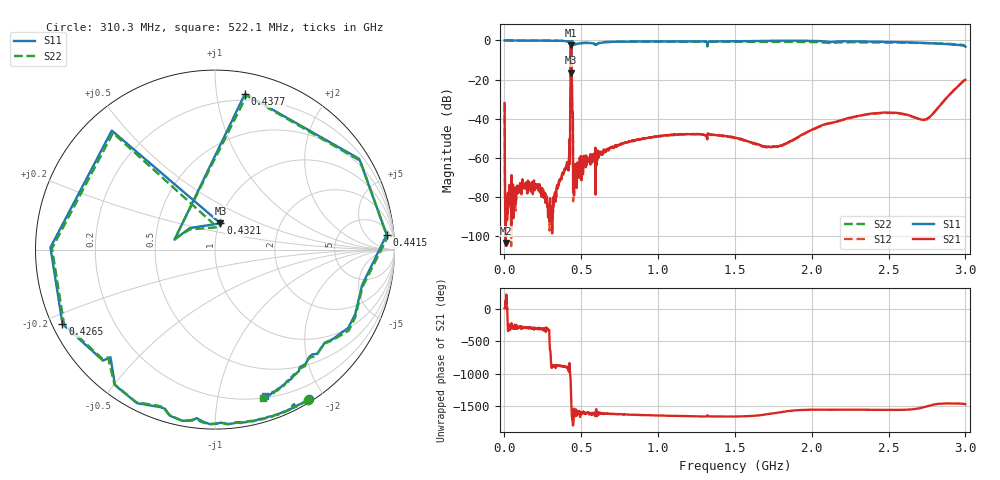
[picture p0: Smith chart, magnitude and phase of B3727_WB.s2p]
! Matrix data file written by TouchstoneData, EPCOS AG
! FILENAME: "B3727_WB.s2p"
! COMMENT: "PCB:2023 PIN:1/4 PEXT1:93.0ps PEXT2:179.5ps"
! INFO: nport=2, nfreq=1601
! DATE: "Thu Apr 16 15:55:38 2009"
! USER: "Sergey Rostovtsev"
! port | pin | signal
!  1  |  1  |  in
!  2  |  4  |  out
# MHZ S MA R 50
! freq  magS11 angS11  magS21 angS21  magS12 angS12  magS22 angS22
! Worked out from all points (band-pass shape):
!   1601 points, 1 MHz to 3 GHz, reference 50 ohm
!   highest |S21| = -2.48 dB at 434 MHz (marker M1); lowest = -103.6 dB at 8.498 MHz (marker M2)
!   |S21| within 3 dB of the highest: 431.9 MHz to 436.2 MHz (4.342 MHz wide, 1 % of centre)
!   lowest |S11| = -16.5 dB at 432.1 MHz (marker M3), VSWR 1.35, Z = 50.8 + j15.2 ohm
!   |S11| at or under -10 dB: 431.3 MHz to 436.3 MHz (4.975 MHz wide, 1.15 % of centre)
!   |S22| runs from -18.0 to 0.0 dB; largest |S21 - S12| = 0.0031
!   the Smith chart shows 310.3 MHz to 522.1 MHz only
!   S11 on the Smith chart (normalised r, x): 310.3 MHz: 0.03, -1.82; 426.5 MHz: 0.03, -0.23; 432.1 MHz: 1.02, +0.30; 437.7 MHz: 0.15, +1.20; 441.5 MHz: 9, +19; 522.1 MHz: 0.21, -1.37
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1  0.9999 -0.2  0.0249 7.1  0.02507 7.4  0.9996 -0.1
8.4975  0.9997 -1.6  6.569e-06 130.5  5.581e-06 -176.5  0.9989 -1.4
19.74375  0.999 -3.7  3.903e-05 -138.6  2.716e-05 -113.4  0.9986 -3.6
165.945  0.9933 -30.4  0.0001951 60.2  0.0002037 59.4  0.9943 -30.7
310.2719  0.9841 -57.7  1.15e-05 175.3  1.478e-05 145.6  0.9863 -58.3
381.4981  0.9773 -77.3  0.0003932 -167.1  0.0003815 -166.8  0.9787 -78.0
411.4881  0.9711 -100.8  0.0007647 171.9  0.0007638 171.9  0.9696 -101.3
426.4831  0.9454 -154.0  0.00094 120.3  0.0009655 119.8  0.937 -153.9
432.1062  0.1496 78.4  0.6983 -154.2  0.6965 -154.0  0.1254 84.3
433.9806  0.1849 139.7  0.752 68.4  0.7497 68.5  0.1796 141.3
437.7294  0.8832 79.1  0.188 -179.7  0.1876 -179.4  0.8762 78.4
441.4781  0.9601 5.0  0.01659 96.6  0.01673 96.7  0.9631 4.1
462.0962  0.812 -51.5  0.0003489 152.2  0.0003519 152.4  0.8202 -52.3
501.4581  0.8538 -66.2  0.0002637 174.0  0.0002707 170.5  0.8575 -67.2
522.0762  0.8629 -71.2  0.0007788 -155.4  0.0007732 -154.9  0.8675 -72.2
1001.916  0.9422 -121.6  0.003531 153.6  0.003514 152.2  0.9362 -121.1
1500.5  0.9564 -153.8  0.003232 138.8  0.003153 137.4  0.9241 -152.6
1776.033  0.9818 -168.2  0.001952 -161.7  0.001906 -162.0  0.9202 -167.3
2000.958  0.9761 178.7  0.005193 -117.0  0.005093 -117.6  0.913 179.8
2501.416  0.9194 151.1  0.01422 -120.6  0.01399 -119.7  0.8853 151.5
2746.959  0.8602 130.6  0.009764 -65.7  0.009537 -63.4  0.854 132.1
3000  0.6923 92.7  0.09861 -33.2  0.1006 -32.0  0.7041 97.8
